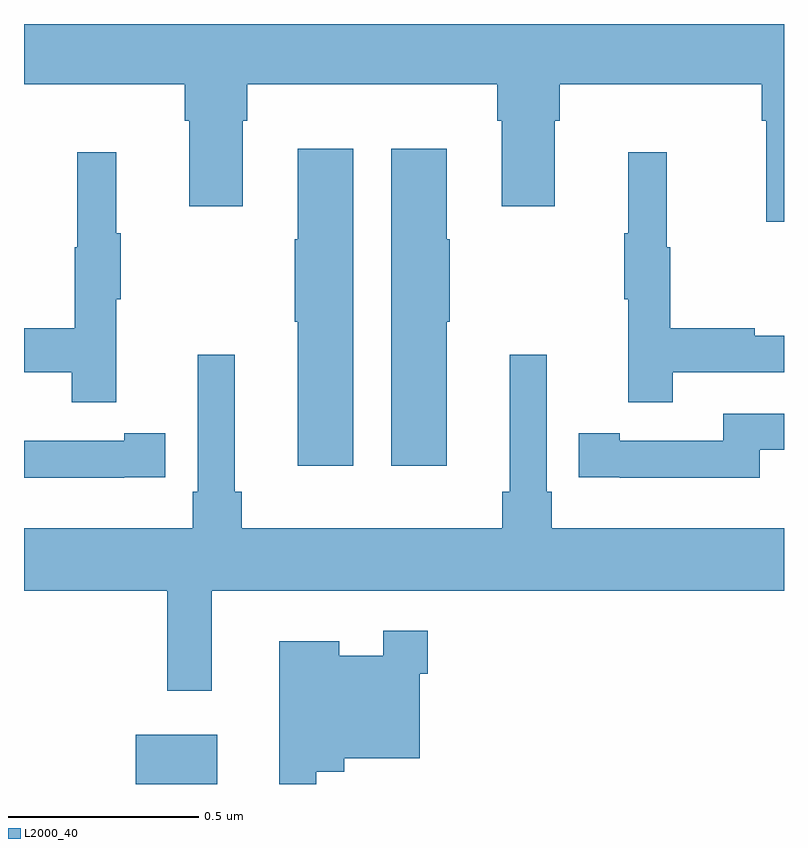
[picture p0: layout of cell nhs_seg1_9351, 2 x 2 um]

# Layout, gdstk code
import gdstk
lib = gdstk.Library(unit=1e-6, precision=1e-09)
def R(c, l, rs):  # rectangles x0, y0, x1, y1
    for r in rs: c.add(gdstk.rectangle(r[:2], r[2:], *l))
def P(c, l, *ps):  # polygons
    for p in ps: c.add(gdstk.Polygon(p, *l))
L2000_40 = (2000, 40)

nhs_seg1_9351 = lib.new_cell('nhs_seg1_9351')
R(nhs_seg1_9351, L2000_40, [(227.294,575.199,227.509,575.329)])
P(nhs_seg1_9351, L2000_40, [(229,577.199),(227,577.199),(227,577.04),(227.423,577.04),(227.423,576.944),(227.435,576.944),(227.435,576.72),(227.575,576.72),(227.575,576.944),(227.588,576.944),(227.588,577.04),(228.245,577.04),(228.245,576.944),(228.257,576.944),(228.257,576.72),(228.397,576.72),(228.397,576.944),(228.41,576.944),(228.41,577.04),(228.941,577.04),(228.941,576.944),(228.953,576.944),(228.953,576.678),(229,576.678)],
  [(227.866,576.871),(227.72,576.871),(227.72,576.632),(227.713,576.632),(227.713,576.415),(227.72,576.415),(227.72,576.036),(227.866,576.036)],
  [(228.112,576.415),(228.12,576.415),(228.12,576.632),(228.112,576.632),(228.112,576.871),(227.966,576.871),(227.966,576.036),(228.112,576.036)],
  [(227.243,576.475),(227.254,576.475),(227.254,576.649),(227.243,576.649),(227.243,576.862),(227.14,576.862),(227.14,576.612),(227.133,576.612),(227.133,576.398),(227,576.398),(227,576.282),(227.125,576.282),(227.125,576.204),(227.243,576.204)],
  [(228.707,576.282),(229,576.282),(229,576.378),(228.923,576.378),(228.923,576.398),(228.7,576.398),(228.7,576.612),(228.692,576.612),(228.692,576.862),(228.59,576.862),(228.59,576.649),(228.579,576.649),(228.579,576.475),(228.59,576.475),(228.59,576.204),(228.707,576.204)],
  [(227.494,575.708),(229,575.708),(229,575.872),(228.389,575.872),(228.389,575.968),(228.375,575.968),(228.375,576.328),(228.278,576.328),(228.278,575.968),(228.259,575.968),(228.259,575.872),(227.573,575.872),(227.573,575.968),(227.554,575.968),(227.554,576.328),(227.457,576.328),(227.457,575.968),(227.444,575.968),(227.444,575.872),(227,575.872),(227,575.708),(227.377,575.708),(227.377,575.445),(227.494,575.445)],
  [(228.936,576.078),(229,576.078),(229,576.174),(228.84,576.174),(228.84,576.102),(228.568,576.102),(228.568,576.122),(228.46,576.122),(228.46,576.006),(228.568,576.006),(228.568,576.005),(228.936,576.005)],
  [(227.264,576.006),(227.372,576.006),(227.372,576.122),(227.264,576.122),(227.264,576.102),(227,576.102),(227,576.005),(227.264,576.005)],
  [(227.769,575.231),(227.843,575.231),(227.843,575.267),(228.042,575.267),(228.042,575.489),(228.062,575.489),(228.062,575.602),(227.946,575.602),(227.946,575.536),(227.83,575.536),(227.83,575.575),(227.672,575.575),(227.672,575.199),(227.769,575.199)])

lib.write_gds('nhs_seg1_9351.gds')
